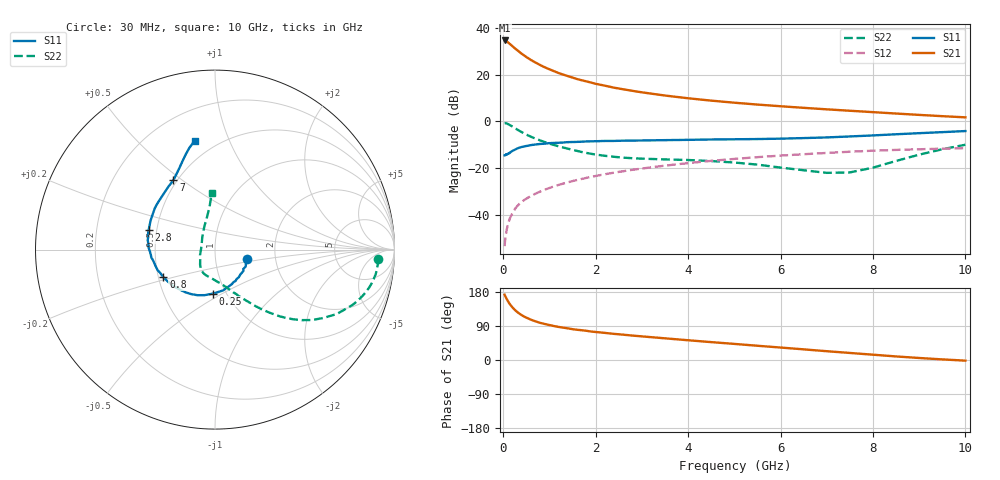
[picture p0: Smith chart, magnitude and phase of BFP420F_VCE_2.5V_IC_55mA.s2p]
! Infineon Technologies  Discrete & RF Semiconductors
! BFP420F
! VCE =  2.5 V,  IC =  55 mA
! Common Emitter S-Parameters:  Sep 2011
# GHz  S  MA  R  50
!  f  S11  S21  S12  S22
! GHz  MAG  ANG  MAG  ANG  MAG  ANG  MAG  ANG
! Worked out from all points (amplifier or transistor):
!   54 points, 30 MHz to 10 GHz, reference 50 ohm
!   highest |S21| = 34.7 dB at 30 MHz (marker M1)
!   |S21| within 3 dB of that: start of sweep to 230.7 MHz
!   unconditionally stable (mu >= 1): 1.18 GHz to end of sweep
!   at 120 MHz: K = 0.45, MSG = 38.3 dB, |S12| = -43.0 dB
!   at 1.3 GHz: K = 1.03, MAG = 22.4 dB, |S12| = -26.7 dB
!   at 10 GHz: K = 1.22, MAG = 3.8 dB, |S12| = -11.5 dB
!   S11 on the Smith chart (normalised r, x): 30 MHz: 1.43, -0.15; 250 MHz: 0.87, -0.45; 800 MHz: 0.53, -0.18; 2.8 GHz: 0.45, +0.11; 7 GHz: 0.48, +0.46; 10 GHz: 0.39, +0.76
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0.03  0.1858 -15.8  54.04 172.2  0.0021 90.9  0.9084 -3.2
0.05  0.1875 -22.7  52.81 166.9  0.0033 86.0  0.9089 -7.0
0.06  0.1951 -28.9  52.52 164.7  0.0038 87.9  0.9055 -8.8
0.08  0.1975 -36.4  50.89 160.0  0.005 82.8  0.8923 -12.3
0.1  0.1984 -45.2  49.59 155.6  0.006 81.0  0.875 -15.4
0.12  0.2037 -53.8  47.73 151.5  0.0071 80.1  0.8551 -18.3
0.15  0.2145 -64.3  44.91 146.3  0.0086 78.7  0.8228 -22.2
0.2  0.232 -79.0  40.69 138.8  0.0108 75.8  0.7685 -27.8
0.25  0.2452 -92.3  36.8 132.3  0.013 74.3  0.7145 -32.2
0.35  0.2722 -111.0  30.64 122.4  0.0169 71.6  0.6231 -39.1
0.45  0.2888 -124.3  25.89 114.8  0.0204 70.0  0.5507 -43.8
0.6  0.3084 -138.9  20.61 106.4  0.025 69.4  0.4654 -49.1
0.8  0.3263 -151.9  16.05 98.0  0.0311 69.0  0.3883 -54.3
1.2  0.3466 -167.5  10.81 87.2  0.0432 68.5  0.2907 -62.9
1.7  0.3651 -179.4  7.567 78.5  0.0581 67.3  0.2194 -73.0
2.2  0.3788 172.0  5.794 71.5  0.0731 65.4  0.1818 -84.6
2.8  0.3851 163.8  4.488 64.4  0.0912 62.5  0.1615 -96.7
3.5  0.394 155.5  3.564 57.2  0.1119 58.7  0.1522 -108.2
5.5  0.4159 136.9  2.282 37.6  0.17 46.0  0.1177 -134.8
7  0.4506 121.0  1.803 23.2  0.2094 35.6  0.0784 -178.9
8.5  0.5267 110.0  1.465 9.4  0.2433 24.5  0.1409 115.1
10  0.6174 100.5  1.214 -1.7  0.2659 15.1  0.314 93.4
